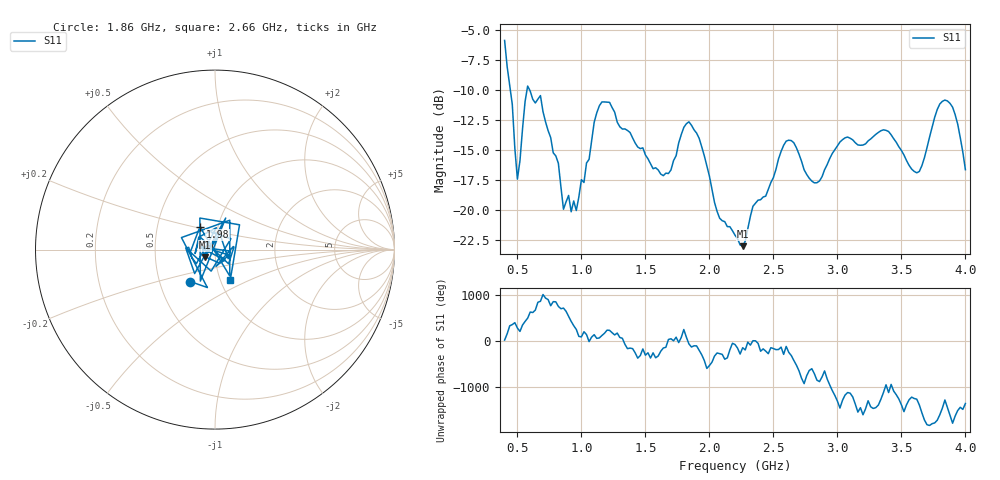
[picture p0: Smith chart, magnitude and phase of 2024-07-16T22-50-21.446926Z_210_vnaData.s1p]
!Created with skrf (http://scikit-rf.org).
# Hz S RI R 50.0
!freq ReS11 ImS11
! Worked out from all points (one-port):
!   181 points, 400 MHz to 4 GHz, reference 50 ohm
!   lowest |S11| = -23.0 dB at 2.26 GHz (marker M1), VSWR 1.15, Z = 44.5 - j3.77 ohm
!   |S11| at or under -10 dB: 444.3 MHz to 575 MHz (130.7 MHz wide, 25.6 % of centre); 595.4 MHz to end of sweep
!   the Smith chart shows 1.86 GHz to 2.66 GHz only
!   S11 on the Smith chart (normalised r, x): 1.86 GHz: 0.72, -0.27; 1.98 GHz: 0.82, +0.21; 2.66 GHz: 1.11, -0.39
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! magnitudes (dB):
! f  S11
! 400 MHz  -5.9
! 460 MHz  -11.2
! 500 MHz  -17.4
! 580 MHz  -9.7
! 680 MHz  -10.5
! 820 MHz  -16.1
! 860 MHz  -20.0
! 900 MHz  -18.8
! 960 MHz  -20.1
! 1.16 GHz  -11.0
! 1.3 GHz  -13.1
! 1.64 GHz  -17.2
! 1.76 GHz  -14.4
! 1.86 GHz  -12.9
! 1.98 GHz  -16.4
! 2.08 GHz  -20.7
! 2.2 GHz  -22.1
! 2.26 GHz  -23.0
! 2.34 GHz  -19.7
! 2.66 GHz  -14.4
! 2.84 GHz  -17.7
! 3.1 GHz  -14.0
! 3.4 GHz  -13.5
! 3.56 GHz  -16.3
! 3.64 GHz  -16.8
! 3.84 GHz  -10.8
! 3.92 GHz  -12.1
! 4 GHz  -16.6
